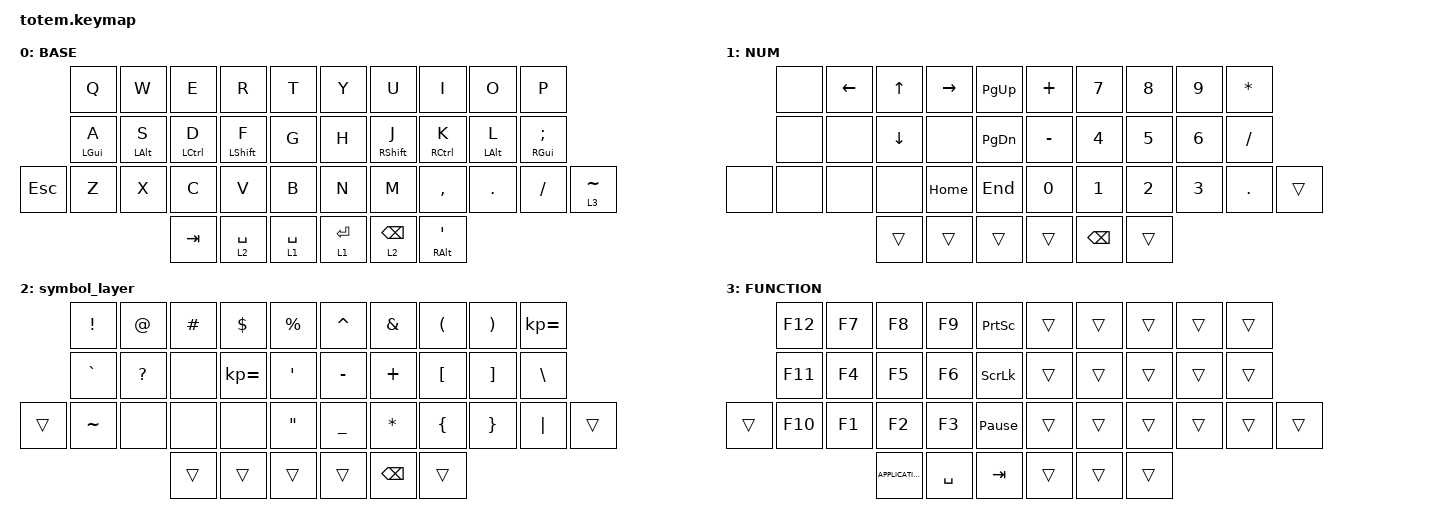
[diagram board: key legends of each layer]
//
//                                                        ▀▀▀▀▀     ▀▀▀▀▀          ▀▀█▀▀
//                                                        ▄▀▀▀▄  ▄  ▄▀▀▀▄  ▄  ▄▀▀▀▄  █  ▄▀▀▀▄
//                                                        █   █  █  █   █  █  █   █  █  █   █
//                                                         ▀▀▀   █   ▀▀▀   █   ▀▀▀   ▀   ▀▀▀
//                                                               █      ▄▄▄█▄▄▄    █   █  
//                                                               ▀      █  █  █     █▄█
//                                                             ▀▀▀▀▀    █  █  █      ▀
//                                                                      ▀  ▀  ▀
//
// ▄▄▄▄▄▄▄▄▄▄▄▄▄▄▄▄▄▄▄▄▄▄▄▄▄▄▄▄▄▄▄▄▄▄▄▄▄▄▄▄▄▄▄▄▄▄▄▄▄▄▄▄▄▄▄▄▄▄▄▄▄▄▄▄▄▄▄▄▄▄▄▄▄▄▄▄▄▄▄▄▄▄▄▄▄▄▄▄▄▄▄▄▄▄▄▄▄▄▄▄▄▄▄▄▄▄▄▄▄▄▄▄▄▄▄▄▄▄▄▄▄▄▄▄▄▄▄▄▄▄▄▄▄▄▄▄▄▄▄▄▄▄▄▄▄▄▄▄▄

#include <behaviors.dtsi>
#include <dt-bindings/zmk/keys.h>

#define BASE      0
#define NUM       1
#define MEDIA     2
#define FUNCTION  3
#define GAME      4

&mt {
    quick-tap-ms = <100>;
    global-quick-tap;
    flavor = "tap-preferred";
    tapping-term-ms = <170>;
};

/ {
    behaviors {
        hm: homerow_mods {
            compatible = "zmk,behavior-hold-tap";
            label = "HOMEROW_MODS";
            #binding-cells = <2>;
            tapping-term-ms = <150>;			// <---[[produces tap if held longer than tapping-term-ms]]
            quick_tap_ms = <0>;
            flavor = "tap-preferred";
            bindings = <&kp>, <&kp>;
        };

        lc: layer_change {
            compatible = "zmk,behavior-hold-tap";
            #binding-cells = <2>;
            flavor = "hold-preferred";
            tapping-term-ms = <200>;
            quick-tap-ms = <200>;
            require-prior-idle-ms = <125>;
            bindings = <&to>, <&kp>;
        };

        sc: sticky_layer_change {
            compatible = "zmk,behavior-hold-tap";
            #binding-cells = <2>;
            flavor = "hold-preferred";
            tapping-term-ms = <200>;
            quick-tap-ms = <200>;
            require-prior-idle-ms = <125>;
            bindings = <&sl>, <&kp>;
        };

        dl: dualayer_change {
            compatible = "zmk,behavior-hold-tap";
            #binding-cells = <2>;
            flavor = "hold-preferred";
            tapping-term-ms = <200>;
            quick-tap-ms = <200>;
            require-prior-idle-ms = <125>;
            bindings = <&to>, <&sl>;
        };

        ts: temp_sticky {
            compatible = "zmk,behavior-hold-tap";
            #binding-cells = <2>;
            flavor = "hold-preferred";
            tapping-term-ms = <200>;
            quick-tap-ms = <200>;
            require-prior-idle-ms = <125>;
            bindings = <&mo>, <&to>;
        };
    };

    combos {
        compatible = "zmk,combos";

        combo_esc {
            timeout-ms = <50>;
            key-positions = <0 1>;
            layers = <0 1 3>;
            bindings = <&kp ESC>;
        };

        combo_boot {
            timeout-ms = <50>;
            key-positions = <20 31>;
            layers = <1 3>;
            bindings = <&bootloader>;
        };

        combo_undo {
            timeout-ms = <50>;
            key-positions = <34 35>;
            layers = <0 1 3>;
            bindings = <&kp LC(Z)>;
        };

        combo_backspace1 {
            key-positions = <5 6>;
            timeout-ms = <50>;
            layers = <0 1 3>;
            bindings = <&kp BACKSPACE>;
        };

        to_game_layer {
            bindings = <&to 0>;
            key-positions = <4 5>;
            layers = <0 1 3>;
            timeout-ms = <50>;
        };

        region_screen {
            bindings = <&capture_region>;
            key-positions = <20 25>;
            layers = <0 1 3>;
            timeout-ms = <50>;
        };

        combo_backspace2 {
            bindings = <&kp BACKSPACE>;
            key-positions = <3 4>;
            timeout-ms = <50>;
            layers = <0 1 3>;
        };

        combo_del1 {
            bindings = <&kp DEL>;
            key-positions = <24 25>;
            timeout-ms = <50>;
            layers = <0 1 3>;
        };

        combo_del2 {
            bindings = <&kp DEL>;
            key-positions = <26 27>;
            timeout-ms = <50>;
            layers = <0 1 3>;
        };

        /* 			combo_copy {
                timeout-ms = <50>;
                key-positions = <5 31 24>;
                bindings = <&bootloader>;
            };
			combo_paste {
                timeout-ms = <50>;
                key-positions = <5 31 12>;
                bindings = <&bootloader>;
            }; */
    };

    macros {
        capture_region: capture_region {
            compatible = "zmk,behavior-macro";
            #binding-cells = <0>;
            bindings =
                <&macro_press>,
                <&kp LCTRL>,
                <&macro_tap>,
                <&kp PRINTSCREEN>,
                <&macro_release>,
                <&kp LCTRL>;

            label = "CAPTURE_REGION";
        };

        region_capture2: region_capture2 {
            compatible = "zmk,behavior-macro";
            #binding-cells = <0>;
            bindings =
                <&macro_press>,
                <&kp RCTRL>,
                <&macro_tap>,
                <&kp K_APP>,
                <&macro_release>,
                <&kp RCTRL>;

            label = "REGION_CAPTURE2";
        };
    };

    keymap {
        compatible = "zmk,keymap";

        // ▄▄▄▄▄▄▄▄▄▄▄▄▄▄▄▄▄▄▄▄▄▄▄▄▄▄▄▄▄▄▄▄▄▄▄▄▄▄▄▄▄▄▄▄▄▄▄▄▄▄▄▄▄▄▄▄▄▄▄▄▄▄▄▄▄▄▄▄▄▄▄▄▄▄▄▄▄▄▄▄▄▄▄▄▄▄▄▄▄▄▄▄▄▄▄▄▄▄▄▄▄▄▄▄▄▄▄▄▄▄▄▄▄▄▄▄▄▄▄▄▄▄▄▄▄▄▄▄▄▄▄▄▄▄▄▄▄▄▄▄▄▄▄▄▄▄▄▄▄

        base_layer {
            // ┏━━━━━━━━━━━━━━━━━━━━━━━━━━━━━━━━━━━━━━━┓

            label = "BASE";

            // ┗━━━━━━━━━━━━━━━━━━━━━━━━━━━━━━━━━━━━━━━┛
            //             ┌─────────┬─────────┬─────────┬─────────┬─────────┐                     ┌─────────┬─────────┬─────────┬─────────┬─────────┐
            //             │    Q    │    W    │    F    │    P    │    B    │                     │    J    │    L    │    U    │    Y    │    ;    │   
            //             ├─────────┼─────────┼─────────┼─────────┼─────────┤                     ├─────────┼─────────┼─────────┼─────────┼─────────┤
            //             │    A    │    R    │    S    │    T    │    G    │                     │    M    │    N    │    E    │    I    │    O    │
            //   ┌─────────┼─────────┼─────────┼─────────┼─────────┼─────────┤                     ├─────────┼─────────┼─────────┼─────────┼─────────┼─────────┐
            //   │   TAB   │    Z    │    X    │    C    │    D    │    V    │                     │    K    │    H    │    ,    │    .    │    /    │    '    │
            //   └─────────┴─────────┴─────────┴─────────┼─────────┼─────────┼──────────┬┬─────────┼─────────┼─────────┼─────────┴─────────┴─────────┴─────────┘
            //                                           │   COPY  │  PASTE  │  SPACE   ││  ENTER  │  BSPCE  │  DITTO  │  
            //                                           └─────────┴─────────┴──────────┘└─────────┴─────────┴─────────┘

            bindings = <
         &kp Q           &kp W           &kp E        &kp R             &kp T          &kp Y      &kp U              &kp I               &kp O           &kp P
         &hm LEFT_GUI A  &hm LEFT_ALT S  &hm LCTRL D  &hm LEFT_SHIFT F  &kp G          &kp H      &hm RIGHT_SHIFT J  &hm RCTRL K         &hm LEFT_ALT L  &hm RIGHT_GUI SEMI
&kp ESC  &kp Z           &kp X           &kp C        &kp V             &kp B          &kp N      &kp M              &kp COMMA           &kp DOT         &kp FSLH            &lt 3 TILDE
                                         &kp TAB      &lt 2 SPACE       &lt 1 SPACE    &lt 1 RET  &lt 2 BACKSPACE    &hm RIGHT_ALT APOS
            >;
        };

        num_layer {
            // ┏━━━━━━━━━━━━━━━━━━━━━━━━━━━━━━━━━━━━━━━┓

            label = "NUM";

            // ┗━━━━━━━━━━━━━━━━━━━━━━━━━━━━━━━━━━━━━━━┛
            //             ┌─────────┬─────────┬─────────┬─────────┬─────────┐                     ┌─────────┬─────────┬─────────┬─────────┬─────────┐
            //             │    -    │    7    │    8    │    9    │    /    │                     │    /    │    7    │    8    │    9    │    -    │
            //             ├─────────┼─────────┼─────────┼─────────┼─────────┤                     ├─────────┼─────────┼─────────┼─────────┼─────────┤
            //             │    +    │    4    │    5    │    6    │    *    │                     │    *    │    4    │    5    │    6    │    +    │
            //   ┌─────────┼─────────┼─────────┼─────────┼─────────┼─────────┤                     ├─────────┼─────────┼─────────┼─────────┼─────────┼─────────┐
            //   │  PRINT  │    .    │    1    │    2    │    3    │ ------- │                     │ ------- │    1    │    2    │    3    │    .    │         │
            //   └─────────┴─────────┴─────────┴─────────┼─────────┼─────────┼──────────┬┬─────────┼─────────┼─────────┼─────────┴─────────┴─────────┴─────────┘
            //                                           │    0    │  ENTER  │  SPACE   ││  SPACE  │  ENTER  │    0    │ 
            //                                           └─────────┴─────────┴──────────┘└─────────┴─────────┴─────────┘

            bindings = <
       &none  &kp LEFT  &kp UP_ARROW  &kp RIGHT  &kp PG_UP    &kp PLUS      &kp NUMBER_7   &kp NUMBER_8  &kp NUMBER_9  &kp ASTERISK
       &none  &none     &kp DOWN      &none      &kp PG_DN    &kp MINUS     &kp NUMBER_4   &kp NUMBER_5  &kp NUMBER_6  &kp SLASH
&none  &none  &none     &none         &kp HOME   &kp END      &kp NUMBER_0  &kp NUMBER_1   &kp NUMBER_2  &kp NUMBER_3  &kp PERIOD    &trans
                        &trans        &trans     &trans       &trans        &kp BACKSPACE  &trans
            >;
        };

        symbol_layer {
            bindings = <
        &kp EXCLAMATION  &kp AT_SIGN   &kp HASH  &kp DOLLAR    &kp PERCENT          &kp CARET  &kp AMPS       &kp LEFT_PARENTHESIS  &kp RIGHT_PARENTHESIS  &kp KP_EQUAL
        &kp GRAVE        &kp QUESTION  &none     &kp KP_EQUAL  &kp SINGLE_QUOTE     &kp MINUS  &kp PLUS       &kp LEFT_BRACKET      &kp RIGHT_BRACKET      &kp BACKSLASH
&trans  &kp TILDE        &none         &none     &none         &kp DOUBLE_QUOTES    &kp UNDER  &kp STAR       &kp LEFT_BRACE        &kp RIGHT_BRACE        &kp PIPE       &trans
                                       &trans    &trans        &trans               &trans     &kp BACKSPACE  &trans
            >;
        };

        function_layer {
            // ┏━━━━━━━━━━━━━━━━━━━━━━━━━━━━━━━━━━━━━━━┓

            label = "FUNCTION";

            // ┗━━━━━━━━━━━━━━━━━━━━━━━━━━━━━━━━━━━━━━━┛
            //             ┌─────────┬─────────┬─────────┬─────────┬─────────┐                     ┌─────────┬─────────┬─────────┬─────────┬─────────┐
            //             │  RESET  │  BT CLR │ OUT TOG │         │ BTSEL 0 │                     │   INS   │    F7   │    F8   │    F9   │   F12   │
            //             ├─────────┼─────────┼─────────┼─────────┼─────────┤                     ├─────────┼─────────┼─────────┼─────────┼─────────┤
            //             │  BOOTLD │ BT NEXT │         │         │ BTSEL 1 │                     │  SCRL   │    F4   │    F5   │    F6   │   F11   │
            //   ┌─────────┼─────────┼─────────┼─────────┼─────────┼─────────┤                     ├─────────┼─────────┼─────────┼─────────┼─────────┼─────────┐
            //   │         │         │ BT PREV │         │         │ BTSEL 2 │                     │  PAUSE  │    F1   │    F2   │    F3   │   F10   │         │
            //   └─────────┴─────────┴─────────┴─────────┼─────────┼─────────┼──────────┬┬─────────┼─────────┼─────────┼─────────┴─────────┴─────────┴─────────┘
            //                                           │         │         │  SPACE   ││         │         │         │ 
            //                                           └─────────┴─────────┴──────────┘└─────────┴─────────┴─────────┘

            bindings = <
        &kp F12  &kp F7  &kp F8             &kp F9     &kp PRINTSCREEN    &trans  &trans  &trans  &trans  &trans
        &kp F11  &kp F4  &kp F5             &kp F6     &kp SCROLLLOCK     &trans  &trans  &trans  &trans  &trans
&trans  &kp F10  &kp F1  &kp F2             &kp F3     &kp PAUSE_BREAK    &trans  &trans  &trans  &trans  &trans  &trans
                         &kp K_APPLICATION  &kp SPACE  &kp TAB            &trans  &trans  &trans
            >;
        };

        // ▄▄▄▄▄▄▄▄▄▄▄▄▄▄▄▄▄▄▄▄▄▄▄▄▄▄▄▄▄▄▄▄▄▄▄▄▄▄▄▄▄▄▄▄▄▄▄▄▄▄▄▄▄▄▄▄▄▄▄▄▄▄▄▄▄▄▄▄▄▄▄▄▄▄▄▄▄▄▄▄▄▄▄▄▄▄▄▄▄▄▄▄▄▄▄▄▄▄▄▄▄▄▄▄▄▄▄▄▄▄▄▄▄▄▄▄▄▄▄▄▄▄▄▄▄▄▄▄▄▄▄▄▄▄▄▄▄▄▄▄▄▄▄▄▄▄▄▄▄		
    };
};
